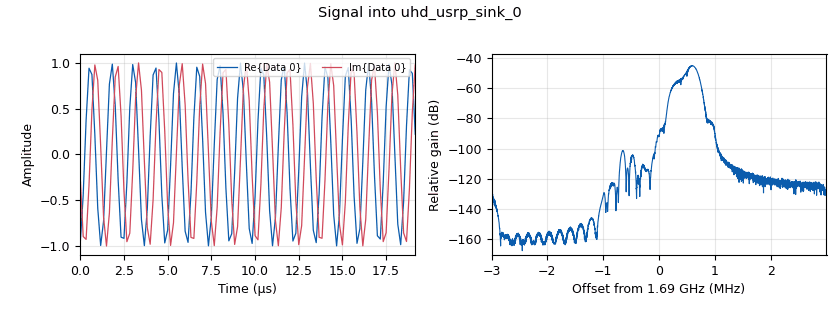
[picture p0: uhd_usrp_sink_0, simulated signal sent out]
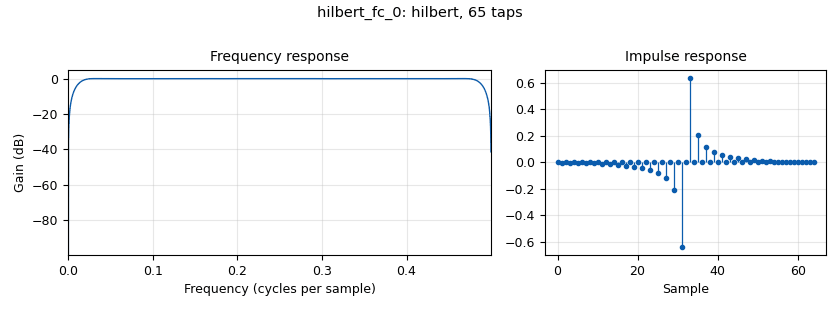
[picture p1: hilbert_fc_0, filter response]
<?xml version='1.0' encoding='utf-8'?>
<?grc format='1' created='3.7.10'?>
<flow_graph>
<block>
<key>options</key>
<param><key>id</key><value>top_block</value></param>
<param><key>generate_options</key><value>wx_gui</value></param>
</block>
<block>
<key>variable</key>
<param><key>id</key><value>samp_rate</value></param>
<param><key>value</key><value>6000000</value></param>
</block>
<block>
<key>analog_sig_source_x</key>
<param><key>id</key><value>analog_sig_source_x_0</value></param>
<param><key>amp</key><value>1</value></param>
<param><key>freq</key><value>1000</value></param>
<param><key>offset</key><value>0</value></param>
<param><key>type</key><value>float</value></param>
<param><key>samp_rate</key><value>samp_rate</value></param>
<param><key>waveform</key><value>analog.GR_SAW_WAVE</value></param>
</block>
<block>
<key>blocks_complex_to_real</key>
<param><key>id</key><value>blocks_complex_to_real_0</value></param>
</block>
<block>
<key>blocks_complex_to_real</key>
<param><key>id</key><value>blocks_complex_to_real_0_0</value></param>
</block>
<block>
<key>blocks_file_sink</key>
<param><key>id</key><value>blocks_file_sink_0</value></param>
<param><key>file</key><value>/home/pi/Desktop/arq.dat</value></param>
<param><key>type</key><value>float</value></param>
</block>
<block>
<key>blocks_head</key>
<param><key>id</key><value>blocks_head_0</value></param>
<param><key>num_items</key><value>1024</value></param>
<param><key>type</key><value>float</value></param>
</block>
<block>
<key>blocks_multiply_xx</key>
<param><key>id</key><value>blocks_multiply_xx_0</value></param>
<param><key>type</key><value>float</value></param>
</block>
<block>
<key>blocks_skiphead</key>
<param><key>id</key><value>blocks_skiphead_0</value></param>
<param><key>num_items</key><value>1024</value></param>
<param><key>type</key><value>float</value></param>
</block>
<block>
<key>blocks_vco_f</key>
<param><key>id</key><value>blocks_vco_f_0</value></param>
<param><key>amplitude</key><value>1</value></param>
<param><key>samp_rate</key><value>samp_rate</value></param>
<param><key>sensitivity</key><value>6.28e6</value></param>
</block>
<block>
<key>hilbert_fc</key>
<param><key>id</key><value>hilbert_fc_0</value></param>
<param><key>num_taps</key><value>64</value></param>
<param><key>win</key><value>firdes.WIN_HAMMING</value></param>
</block>
<block>
<key>uhd_usrp_sink</key>
<param><key>id</key><value>uhd_usrp_sink_0</value></param>
<param><key>ant0</key><value></value></param>
<param><key>center_freq0</key><value>1.69e9</value></param>
<param><key>norm_gain0</key><value>False</value></param>
<param><key>gain0</key><value>50</value></param>
<param><key>clock_rate</key><value>0.0</value></param>
<param><key>dev_args</key><value>""</value></param>
<param><key>type</key><value>fc32</value></param>
<param><key>samp_rate</key><value>samp_rate</value></param>
<param><key>hide_cmd_port</key><value>True</value></param>
<param><key>hide_lo_controls</key><value>True</value></param>
<param><key>sync</key><value></value></param>
<param><key>len_tag_name</key><value></value></param>
</block>
<block>
<key>uhd_usrp_source</key>
<param><key>id</key><value>uhd_usrp_source_0</value></param>
<param><key>ant0</key><value></value></param>
<param><key>center_freq0</key><value>1.69e9</value></param>
<param><key>dc_offs_enb0</key><value>""</value></param>
<param><key>iq_imbal_enb0</key><value>""</value></param>
<param><key>norm_gain0</key><value>False</value></param>
<param><key>gain0</key><value>50</value></param>
<param><key>clock_rate</key><value>0.0</value></param>
<param><key>dev_args</key><value>""</value></param>
<param><key>type</key><value>fc32</value></param>
<param><key>samp_rate</key><value>samp_rate</value></param>
<param><key>hide_cmd_port</key><value>True</value></param>
<param><key>hide_lo_controls</key><value>True</value></param>
<param><key>sync</key><value></value></param>
</block>
<connection><source_block_id>analog_sig_source_x_0</source_block_id><sink_block_id>blocks_vco_f_0</sink_block_id><source_key>0</source_key><sink_key>0</sink_key></connection>
<connection><source_block_id>blocks_complex_to_real_0</source_block_id><sink_block_id>blocks_multiply_xx_0</sink_block_id><source_key>0</source_key><sink_key>1</sink_key></connection>
<connection><source_block_id>blocks_complex_to_real_0_0</source_block_id><sink_block_id>blocks_multiply_xx_0</sink_block_id><source_key>0</source_key><sink_key>0</sink_key></connection>
<connection><source_block_id>blocks_head_0</source_block_id><sink_block_id>blocks_file_sink_0</sink_block_id><source_key>0</source_key><sink_key>0</sink_key></connection>
<connection><source_block_id>blocks_multiply_xx_0</source_block_id><sink_block_id>blocks_skiphead_0</sink_block_id><source_key>0</source_key><sink_key>0</sink_key></connection>
<connection><source_block_id>blocks_skiphead_0</source_block_id><sink_block_id>blocks_head_0</sink_block_id><source_key>0</source_key><sink_key>0</sink_key></connection>
<connection><source_block_id>blocks_vco_f_0</source_block_id><sink_block_id>hilbert_fc_0</sink_block_id><source_key>0</source_key><sink_key>0</sink_key></connection>
<connection><source_block_id>hilbert_fc_0</source_block_id><sink_block_id>blocks_complex_to_real_0</sink_block_id><source_key>0</source_key><sink_key>0</sink_key></connection>
<connection><source_block_id>hilbert_fc_0</source_block_id><sink_block_id>uhd_usrp_sink_0</sink_block_id><source_key>0</source_key><sink_key>0</sink_key></connection>
<connection><source_block_id>uhd_usrp_source_0</source_block_id><sink_block_id>blocks_complex_to_real_0_0</sink_block_id><source_key>0</source_key><sink_key>0</sink_key></connection>
</flow_graph>
